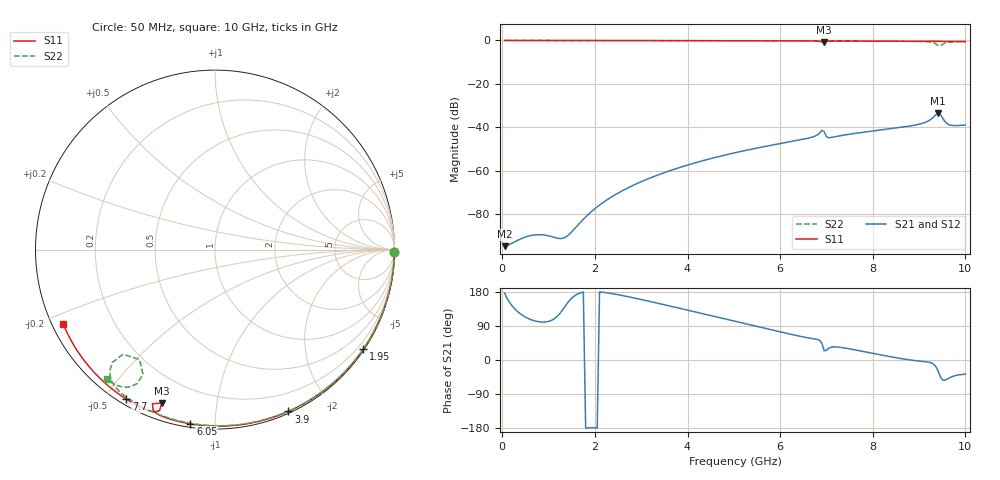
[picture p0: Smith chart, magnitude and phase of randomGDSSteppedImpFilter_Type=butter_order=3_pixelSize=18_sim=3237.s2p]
! freq	dB(S11)	phase(S11)	dB(S12)	phase(S12)
!  dB(S21)	phase(S21)	dB(S22)	phase(S22)
!S-par simulation data
#  GHz  S  DB  R 50
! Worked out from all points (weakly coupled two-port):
!   200 points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, 50 MHz to 10 GHz, reference 50 ohm
!   highest |S21| = -33.56 dB at 9.4 GHz (marker M1); lowest = -94.8 dB at 50 MHz (marker M2)
!   lowest |S11| = -0.9 dB at 6.95 GHz (marker M3), VSWR 20.12, Z = 3.74 - j35.5 ohm
!   |S11| at or under -10 dB: nowhere
!   |S22| runs from -2.6 to 0.0 dB; largest |S21 - S12| = 0
!   S11 on the Smith chart (normalised r, x): 50 MHz: open; 1.95 GHz: 0.03, -3.29; 3.9 GHz: 0.02, -1.55; 6.05 GHz: 0.02, -0.87; 7.7 GHz: 0.02, -0.57; 10 GHz: 0.03, -0.23
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0.05  -0.00 -0.9  -94.85 176.6  -94.85 176.6  -0.00 -0.8
1.75  -0.04 -30.4  -82.41 179.2  -82.41 179.2  -0.03 -26.4
1.85  -0.04 -32.1  -80.33 -179.2  -80.33 -179.2  -0.04 -27.9
1.95  -0.04 -33.8  -78.44 -178.9  -78.44 -178.9  -0.04 -29.4
2.55  -0.06 -43.8  -69.78 171.1  -69.78 171.1  -0.05 -38.1
3.4  -0.08 -57.7  -61.70 148.6  -61.70 148.6  -0.07 -50.3
3.9  -0.09 -65.6  -58.10 134.4  -58.10 134.4  -0.08 -57.2
5.05  -0.13 -83.3  -51.64 101.2  -51.64 101.2  -0.11 -72.8
6.05  -0.17 -98.0  -47.35 72.7  -47.35 72.7  -0.15 -85.7
6.7  -0.23 -107.9  -44.52 56.3  -44.52 56.3  -0.18 -93.9
6.9  -0.66 -112.1  -41.43 44.6  -41.43 44.6  -0.19 -96.4
6.95  -0.86 -109.1  -42.05 24.5  -42.05 24.5  -0.19 -97.0
7  -0.45 -109.0  -44.45 25.5  -44.45 25.5  -0.20 -97.6
7.05  -0.32 -110.3  -44.86 31.3  -44.86 31.3  -0.20 -98.2
7.7  -0.27 -120.7  -42.60 24.7  -42.60 24.7  -0.24 -106.2
8.35  -0.33 -129.8  -40.80 9.3  -40.80 9.3  -0.30 -114.3
9.1  -0.40 -140.3  -38.01 -4.2  -38.01 -4.2  -0.46 -125.3
9.3  -0.42 -143.2  -35.56 -9.6  -35.56 -9.6  -0.94 -130.8
9.4  -0.43 -144.7  -33.56 -26.0  -33.56 -26.0  -2.20 -131.3
9.5  -0.45 -146.1  -35.44 -52.0  -35.44 -52.0  -1.90 -119.9
9.65  -0.47 -148.4  -38.88 -47.6  -38.88 -47.6  -0.77 -123.1
10  -0.53 -153.8  -38.98 -37.3  -38.98 -37.3  -0.53 -129.8
